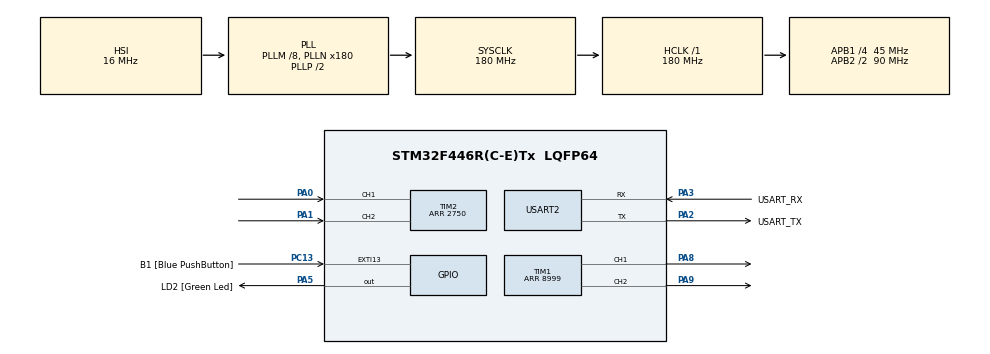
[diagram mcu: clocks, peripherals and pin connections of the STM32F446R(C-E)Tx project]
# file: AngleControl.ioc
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Mcu.Family=STM32F4
Mcu.Name=STM32F446R(C-E)Tx
Mcu.Package=LQFP64
NVIC.PriorityGroup=NVIC_PRIORITYGROUP_0
NVIC.TIM3_IRQn=true\:0\:0\:false\:false\:true\:true\:true\:true
NVIC.USART2_IRQn=true\:0\:0\:false\:false\:true\:true\:true\:true
PA0-WKUP.Signal=S_TIM2_CH1_ETR
PA1.Signal=S_TIM2_CH2
PA13.GPIO_Label=TMS
PA13.Mode=Serial_Wire
PA13.Signal=SYS_JTMS-SWDIO
PA14.GPIO_Label=TCK
PA14.Mode=Serial_Wire
PA14.Signal=SYS_JTCK-SWCLK
PA2.GPIO_Label=USART_TX
PA2.Mode=Asynchronous
PA2.Signal=USART2_TX
PA3.GPIO_Label=USART_RX
PA3.Mode=Asynchronous
PA3.Signal=USART2_RX
PA5.GPIO_Label=LD2 [Green Led]
PA5.Signal=GPIO_Output
PA8.Signal=S_TIM1_CH1
PA9.Signal=S_TIM1_CH2
PB3.GPIO_Label=SWO
PB3.Signal=SYS_JTDO-SWO
PC13.GPIO_Label=B1 [Blue PushButton]
PC13.GPIO_ModeDefaultEXTI=GPIO_MODE_IT_FALLING
PC13.Signal=GPXTI13
PC14-OSC32_IN.Mode=LSE-External-Oscillator
PC14-OSC32_IN.Signal=RCC_OSC32_IN
PC15-OSC32_OUT.Mode=LSE-External-Oscillator
PC15-OSC32_OUT.Signal=RCC_OSC32_OUT
PH0-OSC_IN.Mode=HSE-External-Oscillator
PH0-OSC_IN.Signal=RCC_OSC_IN
PH1-OSC_OUT.Mode=HSE-External-Oscillator
PH1-OSC_OUT.Signal=RCC_OSC_OUT
ProjectManager.HeapSize=0x200
ProjectManager.StackSize=0x400
ProjectManager.TargetToolchain=CMake
RCC.48MHZClocksFreq_Value=84000000
RCC.AHBFreq_Value=180000000
RCC.APB1CLKDivider=RCC_HCLK_DIV4
RCC.APB1Freq_Value=45000000
RCC.APB1TimFreq_Value=90000000
RCC.APB2CLKDivider=RCC_HCLK_DIV2
RCC.APB2Freq_Value=90000000
RCC.APB2TimFreq_Value=180000000
RCC.CortexFreq_Value=180000000
RCC.FLatency-AdvancedSettings=FLASH_LATENCY_5
RCC.HCLKFreq_Value=180000000
RCC.HSE_VALUE=8000000
RCC.HSI_VALUE=16000000
RCC.PLLM=8
RCC.PLLN=180
RCC.SYSCLKFreq_VALUE=180000000
RCC.SYSCLKSource=RCC_SYSCLKSOURCE_PLLCLK
RCC.USBFreq_Value=180000000
RCC.VCOOutputFreq_Value=360000000
SH.S_TIM1_CH1.0=TIM1_CH1,PWM Generation1 CH1
SH.S_TIM1_CH2.0=TIM1_CH2,PWM Generation2 CH2
SH.S_TIM2_CH1_ETR.0=TIM2_CH1,Encoder_Interface
SH.S_TIM2_CH2.0=TIM2_CH2,Encoder_Interface
TIM1.Channel-PWM\ Generation1\ CH1=TIM_CHANNEL_1
TIM1.Channel-PWM\ Generation2\ CH2=TIM_CHANNEL_2
TIM1.Period=8999
TIM2.EncoderMode=TIM_ENCODERMODE_TI12
TIM2.Period=2750
TIM3.Period=99
TIM3.Prescaler=8999
USART2.VirtualMode=VM_ASYNC
VP_TIM1_VS_ClockSourceINT.Mode=Internal
VP_TIM3_VS_ClockSourceINT.Mode=Internal
board=NUCLEO-F446RE

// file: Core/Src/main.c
/* USER CODE BEGIN Header */
/**
  ******************************************************************************
  * @file           : main.c
  * @brief          : Main program body
  ******************************************************************************
  * @attention
  *
  * Copyright (c) 2026 STMicroelectronics.
  * All rights reserved.
  *
  * This software is licensed under terms that can be found in the LICENSE file
  * in the root directory of this software component.
  * If no LICENSE file comes with this software, it is provided AS-IS.
  *
  ******************************************************************************
  */
/* USER CODE END Header */
#include "main.h"

/* USER CODE BEGIN Includes */
#include <stdio.h>
#include <math.h>
#include <string.h>
#include <stdlib.h>
/* USER CODE END Includes */

/* USER CODE BEGIN PTD */
typedef enum{
  ZONE_LOW, // when encoder count is 0-500
  ZONE_MID, // when encoder count is 500-2250
  ZONE_HIGH // when encoder count is 2250-2750
} CounterZone; // for rotation tracking

typedef enum{
  MODE_MENU,
  MODE_RECEIVE,
  MODE_READ_VELOCITY
} UARTMode;
/* USER CODE END PTD */

/* USER CODE BEGIN PD */
// PID control limits
#define PID_ABS_MAX_OUTPUT 65535.0
#define PID_ABS_MIN_OUTPUT 5000.0
// integral windup limits
#define INTEGRAL_MAX 100.0
#define INTEGRAL_MIN -100.0
// error deadzone
#define ERROR_THRESHOLD 1.0

/* control loop timing */
/*
Hz ftimer = fclk/(PSC+1)
dt = (ARR+1)/ftimer
CF = 1/dt
tau = 5*dt (for now)
beta = exp(-dt/tau)
*/
#define DT 0.01
#define CONTROL_FREQUENCY 100.0
#define TAU 0.05
#define BETA 0.818730753078

// other defines
#define RX_BUFFER_SIZE 32
/* USER CODE END PD */

TIM_HandleTypeDef htim1;
TIM_HandleTypeDef htim2;
TIM_HandleTypeDef htim3;

UART_HandleTypeDef huart2;

/* USER CODE BEGIN PV */

  // Logic and Reading variables
  int32_t rotation_count = 0;
  CounterZone zone_curr = ZONE_MID;
  CounterZone zone_prev = ZONE_MID;
  float ang_set = 0;
  float ang_curr = 0;
  float ang_prev = 0;
  float ang_vel = 0;
  uint16_t tick_curr = 0;
  uint16_t tick_prev = 0;
  uint16_t count_curr = 0;
  uint16_t count_prev = 0;

  // PID parameters
  float Kp = 500.0;
  float Ki = 0.0;
  float Kd = 0.0;

  // PID variables
  float err = 0;
  float err_prev = 0;
  float integral = 0;
  float derivative = 0;
  float control_signal = 0;

  // other variables
  uint8_t rx_char;
  char rx_buffer[RX_BUFFER_SIZE];
  uint8_t rx_index = 0;
  volatile uint8_t command_ready = 0;
  UARTMode current_mode = MODE_MENU;

/* USER CODE END PV */

void SystemClock_Config(void);
static void MX_GPIO_Init(void);
static void MX_TIM1_Init(void);
static void MX_USART2_UART_Init(void);
static void MX_TIM2_Init(void);
static void MX_TIM3_Init(void);
/* USER CODE BEGIN PFP */

int _write(int file, char *ptr, int len);
void PrintValues(void);
float GetMotorAngle(void);
float GetMotorAngVel(void);
void IRRFilter(float* sig);
float PID(void);
void MotorStop(void);
void MotorCW(uint16_t duty_cycle);
void MotorCCW(uint16_t duty_cycle);
void MotorControl(void);
void ProcessCommand(char *cmd);

/* USER CODE END PFP */

/* USER CODE BEGIN 0 */

// this function redirects printf output to UART3
int _write(int file, char *ptr, int len)
{
    HAL_UART_Transmit(&huart2, (uint8_t*)ptr, len, HAL_MAX_DELAY);
    return len;
}

void ProcessCommand(char *cmd)
{
    if(current_mode != MODE_MENU){ // enter m to return to menu
      if(strncmp(cmd, "m", 1) ==0){
        current_mode = MODE_MENU;
        printf("Switched to MENU mode\r\n");
      }
    }
    else if(strncmp(cmd, "set ", 4) == 0) // enter set (angle) to change the setpoint angle
    {
        float val = atof(&cmd[4]);
        ang_set = val;
        printf("New set angle: %.2f\r\n", ang_set);
    }
    else if(strncmp(cmd, "r", 1) == 0) // enter r to receive info in the from PrintValues()
    {
        current_mode = MODE_RECEIVE;
        printf("Switched to RECEIVE mode\r\n");
    }
    else if(strncmp(cmd, "v", 1) == 0) // enter v to read angular velocity
    {
        current_mode = MODE_READ_VELOCITY;
        printf("Switched to READ VELOCITY mode\r\n");
    }
    else // if command not recognized, print error message
    {
        printf("Unknown command\r\n");
    }
}

void PrintValues(){
    printf("ang_curr: %.2f, err: %.2f, integral %.2f, derivative %.2f, Control Output: %.2f \r\n", ang_curr, err, integral, derivative, control_signal);
}
float GetMotorAngle(){ // tim2 counter period is 2750
  count_curr = __HAL_TIM_GET_COUNTER(&htim2);

  zone_prev = zone_curr;

  // get current zone
  if(count_curr <= 500){
    zone_curr = ZONE_LOW;
  }
  else if(count_curr >= 2250){
    zone_curr = ZONE_HIGH;
  }
  else{
    zone_curr = ZONE_MID;
  }
  count_prev = count_curr;

  // if going from high to low add rotation, if low to high subtract rotation
  if(zone_prev == ZONE_HIGH && zone_curr == ZONE_LOW){
    rotation_count++;
  }
  else if(zone_prev == ZONE_LOW && zone_curr == ZONE_HIGH){
    rotation_count--;
  }

  return ((float)rotation_count + ((float)__HAL_TIM_GET_COUNTER(&htim2) / 2750.0)) * 360.0; // rotations + angle
}
void IRRFilter(float* sig){
  static float sigfilt_prev;
  *sig = BETA * sigfilt_prev + (1 - BETA) * (*sig);
  sigfilt_prev = *sig;
}

float PID(){
  err = ang_set - ang_curr;
  // if within treshold, zero error and integral
  if(fabsf(err) < ERROR_THRESHOLD){
    err = 0;
    integral = 0;
  }
  integral += err * DT;
  derivative = (err - err_prev) / DT;
  IRRFilter(&derivative);
  err_prev = err;

  // clamp integral
  if(integral > INTEGRAL_MAX){
    integral = INTEGRAL_MAX;
  }
  if(integral < INTEGRAL_MIN){
    integral = INTEGRAL_MIN;
  }

  float P = Kp * err;
  float I = Ki * integral;
  float D = Kd * derivative;
  control_signal = P + I + D;

  // clamp control signal
  if(control_signal > PID_ABS_MAX_OUTPUT){
    control_signal = PID_ABS_MAX_OUTPUT;
  }
  if(control_signal < -PID_ABS_MAX_OUTPUT){
    control_signal = -PID_ABS_MAX_OUTPUT;
  }
  if(control_signal > 0 && control_signal < PID_ABS_MIN_OUTPUT){
    control_signal = PID_ABS_MIN_OUTPUT;
  }
  if(control_signal < 0 && control_signal > -PID_ABS_MIN_OUTPUT){
    control_signal = -PID_ABS_MIN_OUTPUT;
  }
  return control_signal;
}

void MotorStop(){
  __HAL_TIM_SET_COMPARE(&htim1, TIM_CHANNEL_1, 0); // 0% duty cycle
  __HAL_TIM_SET_COMPARE(&htim1, TIM_CHANNEL_2, 0); // 0% duty cycle
}

void MotorCW(uint16_t duty_cycle){
  __HAL_TIM_SET_COMPARE(&htim1, TIM_CHANNEL_1, duty_cycle); // set duty cycle
  __HAL_TIM_SET_COMPARE(&htim1, TIM_CHANNEL_2, 0); // 0% duty cycle
}
void MotorCCW(uint16_t duty_cycle){
  __HAL_TIM_SET_COMPARE(&htim1, TIM_CHANNEL_1, 0); // 0% duty cycle
  __HAL_TIM_SET_COMPARE(&htim1, TIM_CHANNEL_2, duty_cycle); // set duty cycle
}

void MotorControl(){
  control_signal = PID();
  if(fabsf(control_signal) < 100.0){
    MotorStop();
  }
  else if (control_signal > 0){
    MotorCW((uint16_t)control_signal);
  }
  else{
    MotorCCW((uint16_t)(-control_signal));
  }
}

/* USER CODE END 0 */

int main(void)
{

  /* MCU Configuration--------------------------------------------------------*/

  /* Reset of all peripherals, Initializes the Flash interface and the Systick. */
  HAL_Init();

  /* Configure the system clock */
  SystemClock_Config();

  /* Initialize all configured peripherals */
  MX_GPIO_Init();
  MX_TIM1_Init();
  MX_USART2_UART_Init();
  MX_TIM2_Init();
  MX_TIM3_Init();
  /* USER CODE BEGIN 2 */
  // start the timer in encoder mode

  // start tim1 PWM channels
  HAL_TIM_PWM_Start(&htim1, TIM_CHANNEL_1);
  HAL_TIM_PWM_Start(&htim1, TIM_CHANNEL_2);
  // initialize both PWM channels to 0% duty cycle
  __HAL_TIM_SET_COMPARE(&htim1, TIM_CHANNEL_1, 0);
  __HAL_TIM_SET_COMPARE(&htim1, TIM_CHANNEL_2, 0);

  // start tim2 in encoder mode
  HAL_TIM_Encoder_Start(&htim2, TIM_CHANNEL_ALL);
  __HAL_TIM_SET_COUNTER(&htim2, 0);  // start counter at 0

  HAL_TIM_Base_Start_IT(&htim3); // enable ISR for tim3
  HAL_UART_Receive_IT(&huart2, &rx_char, 1);

  /* USER CODE END 2 */

  /* Infinite loop */
  /* USER CODE BEGIN WHILE */
  while (1)
  {
    if(command_ready){
      ProcessCommand(rx_buffer);
      command_ready = 0;
    }
    if(current_mode == MODE_RECEIVE){
      PrintValues();
    }
    if(current_mode == MODE_READ_VELOCITY){
      printf("ang_vel: %.2f\r\n", ang_vel);
    }
    /* USER CODE END WHILE */

  }
}

void SystemClock_Config(void)
{
  RCC_OscInitTypeDef RCC_OscInitStruct = {0};
  RCC_ClkInitTypeDef RCC_ClkInitStruct = {0};

  /** Configure the main internal regulator output voltage
  */
  __HAL_RCC_PWR_CLK_ENABLE();
  __HAL_PWR_VOLTAGESCALING_CONFIG(PWR_REGULATOR_VOLTAGE_SCALE1);

  /** Initializes the RCC Oscillators according to the specified parameters
  * in the RCC_OscInitTypeDef structure.
  */
  RCC_OscInitStruct.OscillatorType = RCC_OSCILLATORTYPE_HSI;
  RCC_OscInitStruct.HSIState = RCC_HSI_ON;
  RCC_OscInitStruct.HSICalibrationValue = RCC_HSICALIBRATION_DEFAULT;
  RCC_OscInitStruct.PLL.PLLState = RCC_PLL_ON;
  RCC_OscInitStruct.PLL.PLLSource = RCC_PLLSOURCE_HSI;
  RCC_OscInitStruct.PLL.PLLM = 8;
  RCC_OscInitStruct.PLL.PLLN = 180;
  RCC_OscInitStruct.PLL.PLLP = RCC_PLLP_DIV2;
  RCC_OscInitStruct.PLL.PLLQ = 2;
  RCC_OscInitStruct.PLL.PLLR = 2;
  if (HAL_RCC_OscConfig(&RCC_OscInitStruct) != HAL_OK)
  {
    Error_Handler();
  }

  /** Activate the Over-Drive mode
  */
  if (HAL_PWREx_EnableOverDrive() != HAL_OK)
  {
    Error_Handler();
  }

  /** Initializes the CPU, AHB and APB buses clocks
  */
  RCC_ClkInitStruct.ClockType = RCC_CLOCKTYPE_HCLK|RCC_CLOCKTYPE_SYSCLK
                              |RCC_CLOCKTYPE_PCLK1|RCC_CLOCKTYPE_PCLK2;
  RCC_ClkInitStruct.SYSCLKSource = RCC_SYSCLKSOURCE_PLLCLK;
  RCC_ClkInitStruct.AHBCLKDivider = RCC_SYSCLK_DIV1;
  RCC_ClkInitStruct.APB1CLKDivider = RCC_HCLK_DIV4;
  RCC_ClkInitStruct.APB2CLKDivider = RCC_HCLK_DIV2;

  if (HAL_RCC_ClockConfig(&RCC_ClkInitStruct, FLASH_LATENCY_5) != HAL_OK)
  {
    Error_Handler();
  }
}

static void MX_TIM1_Init(void)
{

  TIM_ClockConfigTypeDef sClockSourceConfig = {0};
  TIM_MasterConfigTypeDef sMasterConfig = {0};
  TIM_OC_InitTypeDef sConfigOC = {0};
  TIM_BreakDeadTimeConfigTypeDef sBreakDeadTimeConfig = {0};

  htim1.Instance = TIM1;
  htim1.Init.Prescaler = 0;
  htim1.Init.CounterMode = TIM_COUNTERMODE_UP;
  htim1.Init.Period = 8999;
  htim1.Init.ClockDivision = TIM_CLOCKDIVISION_DIV1;
  htim1.Init.RepetitionCounter = 0;
  htim1.Init.AutoReloadPreload = TIM_AUTORELOAD_PRELOAD_DISABLE;
  if (HAL_TIM_Base_Init(&htim1) != HAL_OK)
  {
    Error_Handler();
  }
  sClockSourceConfig.ClockSource = TIM_CLOCKSOURCE_INTERNAL;
  if (HAL_TIM_ConfigClockSource(&htim1, &sClockSourceConfig) != HAL_OK)
  {
    Error_Handler();
  }
  if (HAL_TIM_PWM_Init(&htim1) != HAL_OK)
  {
    Error_Handler();
  }
  sMasterConfig.MasterOutputTrigger = TIM_TRGO_RESET;
  sMasterConfig.MasterSlaveMode = TIM_MASTERSLAVEMODE_DISABLE;
  if (HAL_TIMEx_MasterConfigSynchronization(&htim1, &sMasterConfig) != HAL_OK)
  {
    Error_Handler();
  }
  sConfigOC.OCMode = TIM_OCMODE_PWM1;
  sConfigOC.Pulse = 0;
  sConfigOC.OCPolarity = TIM_OCPOLARITY_HIGH;
  sConfigOC.OCNPolarity = TIM_OCNPOLARITY_HIGH;
  sConfigOC.OCFastMode = TIM_OCFAST_DISABLE;
  sConfigOC.OCIdleState = TIM_OCIDLESTATE_RESET;
  sConfigOC.OCNIdleState = TIM_OCNIDLESTATE_RESET;
  if (HAL_TIM_PWM_ConfigChannel(&htim1, &sConfigOC, TIM_CHANNEL_1) != HAL_OK)
  {
    Error_Handler();
  }
  if (HAL_TIM_PWM_ConfigChannel(&htim1, &sConfigOC, TIM_CHANNEL_2) != HAL_OK)
  {
    Error_Handler();
  }
  sBreakDeadTimeConfig.OffStateRunMode = TIM_OSSR_DISABLE;
  sBreakDeadTimeConfig.OffStateIDLEMode = TIM_OSSI_DISABLE;
  sBreakDeadTimeConfig.LockLevel = TIM_LOCKLEVEL_OFF;
  sBreakDeadTimeConfig.DeadTime = 0;
  sBreakDeadTimeConfig.BreakState = TIM_BREAK_DISABLE;
  sBreakDeadTimeConfig.BreakPolarity = TIM_BREAKPOLARITY_HIGH;
  sBreakDeadTimeConfig.AutomaticOutput = TIM_AUTOMATICOUTPUT_DISABLE;
  if (HAL_TIMEx_ConfigBreakDeadTime(&htim1, &sBreakDeadTimeConfig) != HAL_OK)
  {
    Error_Handler();
  }
  HAL_TIM_MspPostInit(&htim1);

}

static void MX_TIM2_Init(void)
{

  TIM_Encoder_InitTypeDef sConfig = {0};
  TIM_MasterConfigTypeDef sMasterConfig = {0};

  htim2.Instance = TIM2;
  htim2.Init.Prescaler = 0;
  htim2.Init.CounterMode = TIM_COUNTERMODE_UP;
  htim2.Init.Period = 2750;
  htim2.Init.ClockDivision = TIM_CLOCKDIVISION_DIV1;
  htim2.Init.AutoReloadPreload = TIM_AUTORELOAD_PRELOAD_DISABLE;
  sConfig.EncoderMode = TIM_ENCODERMODE_TI12;
  sConfig.IC1Polarity = TIM_ICPOLARITY_RISING;
  sConfig.IC1Selection = TIM_ICSELECTION_DIRECTTI;
  sConfig.IC1Prescaler = TIM_ICPSC_DIV1;
  sConfig.IC1Filter = 0;
  sConfig.IC2Polarity = TIM_ICPOLARITY_RISING;
  sConfig.IC2Selection = TIM_ICSELECTION_DIRECTTI;
  sConfig.IC2Prescaler = TIM_ICPSC_DIV1;
  sConfig.IC2Filter = 0;
  if (HAL_TIM_Encoder_Init(&htim2, &sConfig) != HAL_OK)
  {
    Error_Handler();
  }
  sMasterConfig.MasterOutputTrigger = TIM_TRGO_RESET;
  sMasterConfig.MasterSlaveMode = TIM_MASTERSLAVEMODE_DISABLE;
  if (HAL_TIMEx_MasterConfigSynchronization(&htim2, &sMasterConfig) != HAL_OK)
  {
    Error_Handler();
  }

}

static void MX_TIM3_Init(void)
{

  TIM_ClockConfigTypeDef sClockSourceConfig = {0};
  TIM_MasterConfigTypeDef sMasterConfig = {0};

  htim3.Instance = TIM3;
  htim3.Init.Prescaler = 8999;
  htim3.Init.CounterMode = TIM_COUNTERMODE_UP;
  htim3.Init.Period = 99;
  htim3.Init.ClockDivision = TIM_CLOCKDIVISION_DIV1;
  htim3.Init.AutoReloadPreload = TIM_AUTORELOAD_PRELOAD_DISABLE;
  if (HAL_TIM_Base_Init(&htim3) != HAL_OK)
  {
    Error_Handler();
  }
  sClockSourceConfig.ClockSource = TIM_CLOCKSOURCE_INTERNAL;
  if (HAL_TIM_ConfigClockSource(&htim3, &sClockSourceConfig) != HAL_OK)
  {
    Error_Handler();
  }
  sMasterConfig.MasterOutputTrigger = TIM_TRGO_RESET;
  sMasterConfig.MasterSlaveMode = TIM_MASTERSLAVEMODE_DISABLE;
  if (HAL_TIMEx_MasterConfigSynchronization(&htim3, &sMasterConfig) != HAL_OK)
  {
    Error_Handler();
  }

}

static void MX_USART2_UART_Init(void)
{

  huart2.Instance = USART2;
  huart2.Init.BaudRate = 115200;
  huart2.Init.WordLength = UART_WORDLENGTH_8B;
  huart2.Init.StopBits = UART_STOPBITS_1;
  huart2.Init.Parity = UART_PARITY_NONE;
  huart2.Init.Mode = UART_MODE_TX_RX;
  huart2.Init.HwFlowCtl = UART_HWCONTROL_NONE;
  huart2.Init.OverSampling = UART_OVERSAMPLING_16;
  if (HAL_UART_Init(&huart2) != HAL_OK)
  {
    Error_Handler();
  }

}

static void MX_GPIO_Init(void)
{
  GPIO_InitTypeDef GPIO_InitStruct = {0};

  /* GPIO Ports Clock Enable */
  __HAL_RCC_GPIOC_CLK_ENABLE();
  __HAL_RCC_GPIOH_CLK_ENABLE();
  __HAL_RCC_GPIOA_CLK_ENABLE();
  __HAL_RCC_GPIOB_CLK_ENABLE();

  /*Configure GPIO pin Output Level */
  HAL_GPIO_WritePin(LD2_GPIO_Port, LD2_Pin, GPIO_PIN_RESET);

  /*Configure GPIO pin : B1_Pin */
  GPIO_InitStruct.Pin = B1_Pin;
  GPIO_InitStruct.Mode = GPIO_MODE_IT_FALLING;
  GPIO_InitStruct.Pull = GPIO_NOPULL;
  HAL_GPIO_Init(B1_GPIO_Port, &GPIO_InitStruct);

  /*Configure GPIO pin : LD2_Pin */
  GPIO_InitStruct.Pin = LD2_Pin;
  GPIO_InitStruct.Mode = GPIO_MODE_OUTPUT_PP;
  GPIO_InitStruct.Pull = GPIO_NOPULL;
  GPIO_InitStruct.Speed = GPIO_SPEED_FREQ_LOW;
  HAL_GPIO_Init(LD2_GPIO_Port, &GPIO_InitStruct);

}

/* USER CODE BEGIN 4 */
/* USER CODE BEGIN 4 */
void HAL_TIM_PeriodElapsedCallback(TIM_HandleTypeDef *htim)
{
    if (htim->Instance == TIM3)  // Make sure it’s TIM3
    {
        /* USER CODE BEGIN TIM3_ISR */
        ang_curr = GetMotorAngle();
        MotorControl();
        /* USER CODE END TIM3_ISR */
    }
}
void HAL_UART_RxCpltCallback(UART_HandleTypeDef *huart)
{
    if (huart->Instance == USART2)
    {
        HAL_UART_Transmit(&huart2, &rx_char, 1, HAL_MAX_DELAY);
        // Detect end of command
        if (rx_char == '\r' || rx_char == '\n')
        {
            if (rx_index > 0)   // Ignore empty ENTER presses
            {
                rx_buffer[rx_index] = '\0';   // Null terminate string
                command_ready = 1;
                rx_index = 0;
            }
        }
        else
        {
            // Store received character if buffer not full
            if (rx_index < RX_BUFFER_SIZE - 1)
            {
                rx_buffer[rx_index++] = rx_char;
            }
            else
            {
                // Buffer overflow protection
                rx_index = 0;
            }
        }

        // Re-arm UART interrupt (VERY IMPORTANT)
        HAL_UART_Receive_IT(&huart2, &rx_char, 1);
    }
}

/* USER CODE END 4 */

void Error_Handler(void)
{
  __disable_irq();
  while (1)
  {
  }
}
